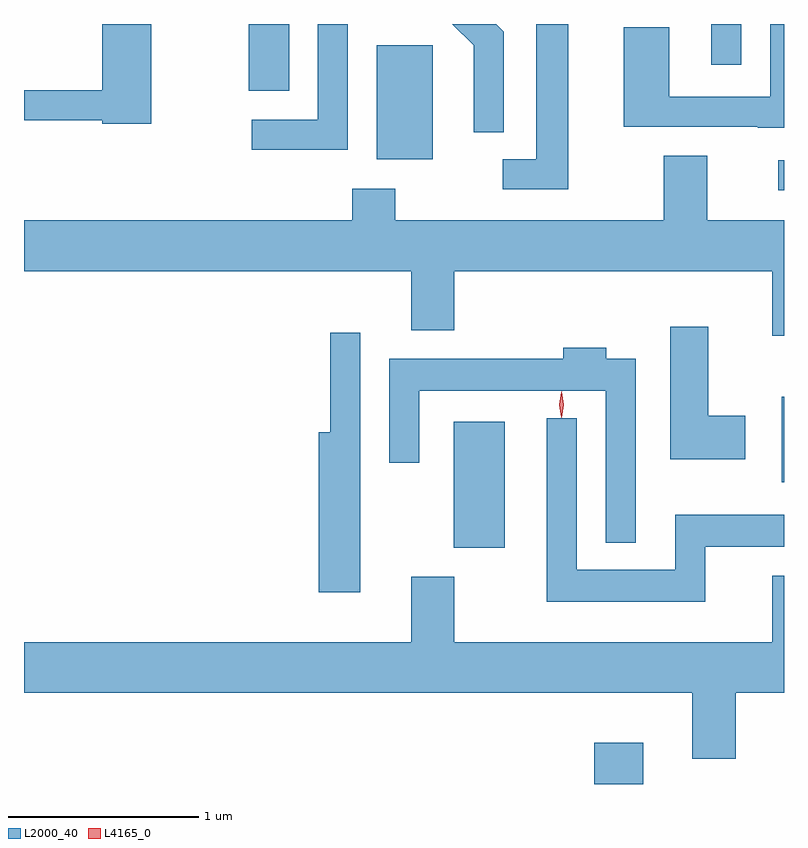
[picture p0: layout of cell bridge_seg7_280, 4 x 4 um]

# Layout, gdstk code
import gdstk
lib = gdstk.Library(unit=1e-6, precision=1e-09)
def R(c, l, rs):  # rectangles x0, y0, x1, y1
    for r in rs: c.add(gdstk.rectangle(r[:2], r[2:], *l))
def P(c, l, *ps):  # polygons
    for p in ps: c.add(gdstk.Polygon(p, *l))
L2000_40 = (2000, 40)
L4165_0 = (4165, 0)

bridge_seg7_280 = lib.new_cell('bridge_seg7_280')
R(bridge_seg7_280, L2000_40, [(1317.496,1798.197,1317.754,1798.414), (1316.756,1799.441,1317.024,1800.104), (1318.481,1799.786,1318.494,1800.234), (1318.463,1801.321,1318.494,1801.479), (1316.351,1801.486,1316.644,1802.084), (1315.676,1801.846,1315.889,1802.197), (1318.111,1801.983,1318.269,1802.197)])
P(bridge_seg7_280, L2000_40, [(1318.494,1802.197),(1318.421,1802.197),(1318.421,1801.814),(1317.889,1801.814),(1317.889,1802.179),(1317.651,1802.179),(1317.651,1801.656),(1318.355,1801.656),(1318.355,1801.651),(1318.494,1801.651)],
  [(1317.359,1802.197),(1317.191,1802.197),(1317.191,1801.484),(1317.013,1801.484),(1317.013,1801.326),(1317.359,1801.326)],
  [(1316.199,1802.197),(1316.041,1802.197),(1316.041,1801.694),(1315.693,1801.694),(1315.693,1801.536),(1316.199,1801.536)],
  [(1317.019,1802.157),(1316.979,1802.197),(1316.748,1802.197),(1316.861,1802.084),(1316.861,1801.628),(1317.019,1801.628)],
  [(1315.164,1802.197),(1314.906,1802.197),(1314.906,1801.849),(1314.494,1801.849),(1314.494,1801.691),(1314.906,1801.691),(1314.906,1801.671),(1315.164,1801.671)],
  [(1318.494,1801.164),(1318.089,1801.164),(1318.089,1801.504),(1317.861,1801.504),(1317.861,1801.164),(1316.449,1801.164),(1316.449,1801.329),(1316.221,1801.329),(1316.221,1801.164),(1314.494,1801.164),(1314.494,1800.896),(1316.531,1800.896),(1316.531,1800.586),(1316.759,1800.586),(1316.759,1800.896),(1318.431,1800.896),(1318.431,1800.556),(1318.494,1800.556)],
  [(1318.289,1800.134),(1318.094,1800.134),(1318.094,1800.604),(1317.896,1800.604),(1317.896,1799.906),(1318.289,1799.906)],
  [(1316.264,1800.573),(1316.106,1800.573),(1316.106,1800.049),(1316.046,1800.049),(1316.046,1799.206),(1316.264,1799.206)],
  [(1317.714,1800.434),(1317.559,1800.434),(1317.559,1800.494),(1317.331,1800.494),(1317.331,1800.434),(1316.416,1800.434),(1316.416,1799.888),(1316.574,1799.888),(1316.574,1800.266),(1317.556,1800.266),(1317.556,1799.468),(1317.714,1799.468)],
  [(1318.079,1799.446),(1318.494,1799.446),(1318.494,1799.614),(1317.921,1799.614),(1317.921,1799.324),(1317.404,1799.324),(1317.404,1800.123),(1317.246,1800.123),(1317.246,1799.156),(1318.079,1799.156)],
  [(1318.239,1798.676),(1318.494,1798.676),(1318.494,1799.294),(1318.431,1799.294),(1318.431,1798.944),(1316.759,1798.944),(1316.759,1799.289),(1316.531,1799.289),(1316.531,1798.944),(1314.494,1798.944),(1314.494,1798.676),(1318.011,1798.676),(1318.011,1798.331),(1318.239,1798.331)])
P(bridge_seg7_280, L4165_0, [(1317.324,1800.124),(1317.324,1800.124),(1317.314,1800.193),(1317.324,1800.262),(1317.324,1800.263),(1317.325,1800.262),(1317.334,1800.193),(1317.325,1800.124)],
  [(1317.321,1800.127),(1317.312,1800.194),(1317.321,1800.26),(1317.322,1800.26),(1317.322,1800.26),(1317.332,1800.194),(1317.322,1800.127),(1317.322,1800.127)])

lib.write_gds('bridge_seg7_280.gds')
